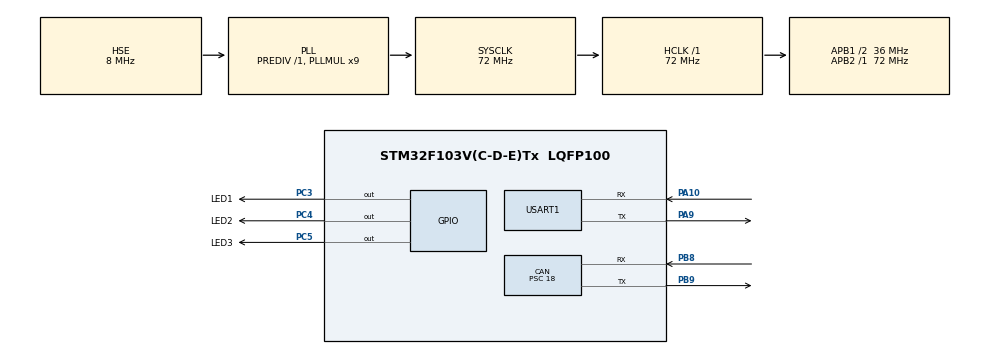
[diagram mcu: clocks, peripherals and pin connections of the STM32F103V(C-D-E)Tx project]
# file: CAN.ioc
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CAN.BS1=CAN_BS1_7TQ
CAN.BS2=CAN_BS2_8TQ
CAN.CalculateTimeBit=8000
CAN.CalculateTimeQuantum=500.0
CAN.Prescaler=18
FREERTOS.Tasks01=Task0,0,256,Func_Task0,Default,NULL,Dynamic,NULL,NULL;Task1,0,256,Func_Task1,Default,NULL,Dynamic,NULL,NULL
Mcu.Family=STM32F1
Mcu.Name=STM32F103V(C-D-E)Tx
Mcu.Package=LQFP100
NVIC.PriorityGroup=NVIC_PRIORITYGROUP_4
NVIC.TIM4_IRQn=true\:0\:0\:false\:false\:true\:false\:false
NVIC.TimeBase=TIM4_IRQn
NVIC.TimeBaseIP=TIM4
NVIC.USB_LP_CAN1_RX0_IRQn=true\:5\:0\:false\:false\:true\:true\:true
OSC_IN.Mode=HSE-External-Oscillator
OSC_IN.Signal=RCC_OSC_IN
OSC_OUT.Mode=HSE-External-Oscillator
OSC_OUT.Signal=RCC_OSC_OUT
PA10.Mode=Asynchronous
PA10.Signal=USART1_RX
PA13.Mode=Serial_Wire
PA13.Signal=SYS_JTMS-SWDIO
PA14.Mode=Serial_Wire
PA14.Signal=SYS_JTCK-SWCLK
PA9.Mode=Asynchronous
PA9.Signal=USART1_TX
PB8.Mode=Master
PB8.Signal=CAN_RX
PB9.Mode=Master
PB9.Signal=CAN_TX
PC3.GPIO_Label=LED1
PC3.Signal=GPIO_Output
PC4.GPIO_Label=LED2
PC4.Signal=GPIO_Output
PC5.GPIO_Label=LED3
PC5.Signal=GPIO_Output
ProjectManager.HeapSize=0x200
ProjectManager.StackSize=0x400
ProjectManager.TargetToolchain=Makefile
RCC.AHBFreq_Value=72000000
RCC.APB1CLKDivider=RCC_HCLK_DIV2
RCC.APB1Freq_Value=36000000
RCC.APB1TimFreq_Value=72000000
RCC.APB2Freq_Value=72000000
RCC.APB2TimFreq_Value=72000000
RCC.HCLKFreq_Value=72000000
RCC.PLLMUL=RCC_PLL_MUL9
RCC.PLLSourceVirtual=RCC_PLLSOURCE_HSE
RCC.SYSCLKFreq_VALUE=72000000
RCC.SYSCLKSource=RCC_SYSCLKSOURCE_PLLCLK
RCC.USBFreq_Value=72000000
USART1.VirtualMode=VM_ASYNC
VP_FREERTOS_VS_ENABLE.Mode=Enabled
VP_SYS_VS_tim4.Mode=TIM4
board=custom

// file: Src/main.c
/**
  ******************************************************************************
  * @file           : main.c
  * @brief          : Main program body
  ******************************************************************************
  * This notice applies to any and all portions of this file
  * that are not between comment pairs USER CODE BEGIN and
  * USER CODE END. Other portions of this file, whether
  * inserted by the user or by software development tools
  * are owned by their respective copyright owners.
  *
  * Copyright (c) 2019 STMicroelectronics International N.V.
  * All rights reserved.
  *
  * Redistribution and use in source and binary forms, with or without
  * modification, are permitted, provided that the following conditions are met:
  *
  * 1. Redistribution of source code must retain the above copyright notice,
  *    this list of conditions and the following disclaimer.
  * 2. Redistributions in binary form must reproduce the above copyright notice,
  *    this list of conditions and the following disclaimer in the documentation
  *    and/or other materials provided with the distribution.
  * 3. Neither the name of STMicroelectronics nor the names of other
  *    contributors to this software may be used to endorse or promote products
  *    derived from this software without specific written permission.
  * 4. This software, including modifications and/or derivative works of this
  *    software, must execute solely and exclusively on microcontroller or
  *    microprocessor devices manufactured by or for STMicroelectronics.
  * 5. Redistribution and use of this software other than as permitted under
  *    this license is void and will automatically terminate your rights under
  *    this license.
  *
  * THIS SOFTWARE IS PROVIDED BY STMICROELECTRONICS AND CONTRIBUTORS "AS IS"
  * AND ANY EXPRESS, IMPLIED OR STATUTORY WARRANTIES, INCLUDING, BUT NOT
  * LIMITED TO, THE IMPLIED WARRANTIES OF MERCHANTABILITY, FITNESS FOR A
  * PARTICULAR PURPOSE AND NON-INFRINGEMENT OF THIRD PARTY INTELLECTUAL PROPERTY
  * RIGHTS ARE DISCLAIMED TO THE FULLEST EXTENT PERMITTED BY LAW. IN NO EVENT
  * SHALL STMICROELECTRONICS OR CONTRIBUTORS BE LIABLE FOR ANY DIRECT, INDIRECT,
  * INCIDENTAL, SPECIAL, EXEMPLARY, OR CONSEQUENTIAL DAMAGES (INCLUDING, BUT NOT
  * LIMITED TO, PROCUREMENT OF SUBSTITUTE GOODS OR SERVICES; LOSS OF USE, DATA,
  * OR PROFITS; OR BUSINESS INTERRUPTION) HOWEVER CAUSED AND ON ANY THEORY OF
  * LIABILITY, WHETHER IN CONTRACT, STRICT LIABILITY, OR TORT (INCLUDING
  * NEGLIGENCE OR OTHERWISE) ARISING IN ANY WAY OUT OF THE USE OF THIS SOFTWARE,
  * EVEN IF ADVISED OF THE POSSIBILITY OF SUCH DAMAGE.
  *
  ******************************************************************************
  */
#include "main.h"
#include "stm32f1xx_hal.h"
#include "cmsis_os.h"

CAN_HandleTypeDef hcan;

UART_HandleTypeDef huart1;

osThreadId Task0Handle;
osThreadId Task1Handle;

/* USER CODE BEGIN PV */
/* Private variables ---------------------------------------------------------*/
CAN_FilterConfTypeDef  sFliterConfig;
CanTxMsgTypeDef TxMessage;
CanRxMsgTypeDef RxMessage;

int flag;
/* USER CODE END PV */

void SystemClock_Config(void);
static void MX_GPIO_Init(void);
static void MX_CAN_Init(void);
static void MX_USART1_UART_Init(void);
void Func_Task0(void const * argument);
void Func_Task1(void const * argument);

/* USER CODE BEGIN PFP */
/* Private function prototypes -----------------------------------------------*/

/* USER CODE END PFP */

int main(void)
{

  /* MCU Configuration----------------------------------------------------------*/

  /* Reset of all peripherals, Initializes the Flash interface and the Systick. */
  HAL_Init();

  /* Configure the system clock */
  SystemClock_Config();

  /* Initialize all configured peripherals */
  MX_GPIO_Init();
  MX_CAN_Init();
  MX_USART1_UART_Init();

  /* Create the thread(s) */
  /* definition and creation of Task0 */
  osThreadDef(Task0, Func_Task0, osPriorityNormal, 0, 256);
  Task0Handle = osThreadCreate(osThread(Task0), NULL);

  /* definition and creation of Task1 */
  osThreadDef(Task1, Func_Task1, osPriorityNormal, 0, 256);
  Task1Handle = osThreadCreate(osThread(Task1), NULL);

  /* Start scheduler */
  osKernelStart();

  /* We should never get here as control is now taken by the scheduler */

  /* Infinite loop */
  while (1)
  {

  }

}

void SystemClock_Config(void)
{

  RCC_OscInitTypeDef RCC_OscInitStruct;
  RCC_ClkInitTypeDef RCC_ClkInitStruct;

    /**Initializes the CPU, AHB and APB busses clocks
    */
  RCC_OscInitStruct.OscillatorType = RCC_OSCILLATORTYPE_HSE;
  RCC_OscInitStruct.HSEState = RCC_HSE_ON;
  RCC_OscInitStruct.HSEPredivValue = RCC_HSE_PREDIV_DIV1;
  RCC_OscInitStruct.HSIState = RCC_HSI_ON;
  RCC_OscInitStruct.PLL.PLLState = RCC_PLL_ON;
  RCC_OscInitStruct.PLL.PLLSource = RCC_PLLSOURCE_HSE;
  RCC_OscInitStruct.PLL.PLLMUL = RCC_PLL_MUL9;
  if (HAL_RCC_OscConfig(&RCC_OscInitStruct) != HAL_OK)
  {
    _Error_Handler(__FILE__, __LINE__);
  }

    /**Initializes the CPU, AHB and APB busses clocks
    */
  RCC_ClkInitStruct.ClockType = RCC_CLOCKTYPE_HCLK|RCC_CLOCKTYPE_SYSCLK
                              |RCC_CLOCKTYPE_PCLK1|RCC_CLOCKTYPE_PCLK2;
  RCC_ClkInitStruct.SYSCLKSource = RCC_SYSCLKSOURCE_PLLCLK;
  RCC_ClkInitStruct.AHBCLKDivider = RCC_SYSCLK_DIV1;
  RCC_ClkInitStruct.APB1CLKDivider = RCC_HCLK_DIV2;
  RCC_ClkInitStruct.APB2CLKDivider = RCC_HCLK_DIV1;

  if (HAL_RCC_ClockConfig(&RCC_ClkInitStruct, FLASH_LATENCY_2) != HAL_OK)
  {
    _Error_Handler(__FILE__, __LINE__);
  }

    /**Configure the Systick interrupt time
    */
  HAL_SYSTICK_Config(HAL_RCC_GetHCLKFreq()/1000);

    /**Configure the Systick
    */
  HAL_SYSTICK_CLKSourceConfig(SYSTICK_CLKSOURCE_HCLK);

  /* SysTick_IRQn interrupt configuration */
  HAL_NVIC_SetPriority(SysTick_IRQn, 15, 0);
}

/* CAN init function */
static void MX_CAN_Init(void)
{

  hcan.Instance = CAN1;
  hcan.Init.Prescaler = 18;
  hcan.Init.Mode = CAN_MODE_NORMAL;
  hcan.Init.SJW = CAN_SJW_1TQ;
  hcan.Init.BS1 = CAN_BS1_7TQ;
  hcan.Init.BS2 = CAN_BS2_8TQ;
  hcan.Init.TTCM = DISABLE;
  hcan.Init.ABOM = DISABLE;
  hcan.Init.AWUM = DISABLE;
  hcan.Init.NART = DISABLE;
  hcan.Init.RFLM = DISABLE;
  hcan.Init.TXFP = DISABLE;
  if (HAL_CAN_Init(&hcan) != HAL_OK)
  {
    _Error_Handler(__FILE__, __LINE__);
  }

}

/* USART1 init function */
static void MX_USART1_UART_Init(void)
{

  huart1.Instance = USART1;
  huart1.Init.BaudRate = 115200;
  huart1.Init.WordLength = UART_WORDLENGTH_8B;
  huart1.Init.StopBits = UART_STOPBITS_1;
  huart1.Init.Parity = UART_PARITY_NONE;
  huart1.Init.Mode = UART_MODE_TX_RX;
  huart1.Init.HwFlowCtl = UART_HWCONTROL_NONE;
  huart1.Init.OverSampling = UART_OVERSAMPLING_16;
  if (HAL_UART_Init(&huart1) != HAL_OK)
  {
    _Error_Handler(__FILE__, __LINE__);
  }

}

/** Configure pins as
        * Analog
        * Input
        * Output
        * EVENT_OUT
        * EXTI
*/
static void MX_GPIO_Init(void)
{

  GPIO_InitTypeDef GPIO_InitStruct;

  /* GPIO Ports Clock Enable */
  __HAL_RCC_GPIOC_CLK_ENABLE();
  __HAL_RCC_GPIOA_CLK_ENABLE();
  __HAL_RCC_GPIOB_CLK_ENABLE();

  /*Configure GPIO pin Output Level */
  HAL_GPIO_WritePin(GPIOC, LED1_Pin|LED2_Pin|LED3_Pin, GPIO_PIN_RESET);

  /*Configure GPIO pins : LED1_Pin LED2_Pin LED3_Pin */
  GPIO_InitStruct.Pin = LED1_Pin|LED2_Pin|LED3_Pin;
  GPIO_InitStruct.Mode = GPIO_MODE_OUTPUT_PP;
  GPIO_InitStruct.Pull = GPIO_NOPULL;
  GPIO_InitStruct.Speed = GPIO_SPEED_FREQ_LOW;
  HAL_GPIO_Init(GPIOC, &GPIO_InitStruct);

}

/* Func_Task0 function */
void Func_Task0(void const * argument)
{

  /* USER CODE BEGIN 5 */
  // hcan.pTxMsg = &TxMessage;    // hc.pTxMsg 按 TxMessage格式
  hcan.pRxMsg = &RxMessage;

  HAL_UART_Transmit(&huart1,"\r\nFunc_Task0\r\n",14,10);

  sFliterConfig.FilterNumber         = 0;
  sFliterConfig.FilterMode           = CAN_FILTERMODE_IDMASK;
  sFliterConfig.FilterScale          = CAN_FILTERSCALE_32BIT;
  sFliterConfig.FilterIdHigh         = 0x0000;
  sFliterConfig.FilterIdLow          = 0x0000;
  sFliterConfig.FilterMaskIdHigh     = 0x0000;
  sFliterConfig.FilterMaskIdLow      = 0x0000;
  sFliterConfig.FilterFIFOAssignment = CAN_FILTER_FIFO0;
  sFliterConfig.FilterActivation     = ENABLE;
  // sFliterConfig.BankNumber           = 14;

  HAL_CAN_ConfigFilter(&hcan, &sFliterConfig);

  HAL_CAN_Receive_IT(&hcan, CAN_FIFO0);

  // hcan.pTxMsg -> ExtId = 0x1314;
  // hcan.pTxMsg -> RTR = CAN_RTR_DATA;
  // hcan.pTxMsg -> IDE = CAN_ID_EXT;
  // hcan.pTxMsg -> DLC = 2;
  // hcan.pTxMsg -> Data[0] = 0xAB;
  // hcan.pTxMsg -> Data[1] = 0xCD;

  // HAL_CAN_Transmit(&hcan, 10);  // 注意第二个参数是timeout，与常规库函数不同
  /* Infinite loop */
  for(;;)
  {
    // osDelay(1000);
    // HAL_GPIO_WritePin(LED1_GPIO_Port, LED1_Pin, GPIO_PIN_RESET);
    // HAL_CAN_Transmit(&hcan, 10);

    osDelay(1);
    // HAL_GPIO_WritePin(LED1_GPIO_Port, LED1_Pin, GPIO_PIN_SET);
    // HAL_CAN_Transmit(&hcan, 10);
  }
  /* USER CODE END 5 */
}

/* Func_Task1 function */
void Func_Task1(void const * argument)
{
  /* USER CODE BEGIN Func_Task1 */
  /* Infinite loop */
  flag = 0;

  char str1[8];
  char str2[8];

  for(;;)
  {
    // osDelay(1);
    while (flag == 0);
    flag = 0;
    HAL_UART_Transmit(&huart1, "\r\nOK\r\n", 6, 10);

    sprintf(str1, "%x", RxMessage.Data[0]);
    sprintf(str2, "%x", RxMessage.Data[1]);
    // if (RxMessage.Data[0] = 0xAB)
    //     HAL_UART_Transmit(&huart1, "AB", 2, 10);
    HAL_UART_Transmit(&huart1, str1, 8, 10);
    HAL_UART_Transmit(&huart1, str2, 8, 10);

    HAL_CAN_Receive_IT(&hcan, CAN_FIFO0);    // 在USB_LP_CAN1_RX0_IRQHandler里用HAL_CAN_IRQHandler挂起hcan后，一定记得这里再注册一下，不然下次就进不去中断了

  }
  /* USER CODE END Func_Task1 */
}

void HAL_TIM_PeriodElapsedCallback(TIM_HandleTypeDef *htim)
{
  if (htim->Instance == TIM4) {
    HAL_IncTick();
  }
}

void _Error_Handler(char *file, int line)
{
  while(1)
  {
  }
}

/************************ (C) COPYRIGHT STMicroelectronics *****END OF FILE****/
